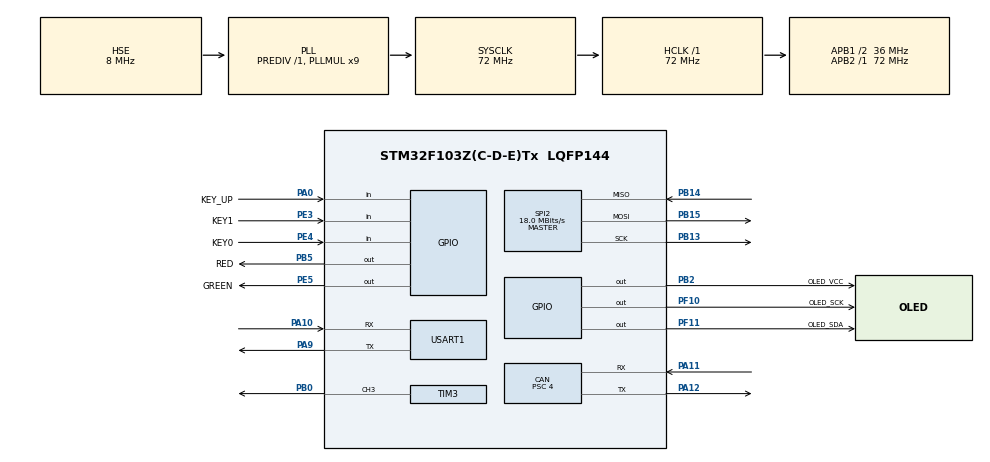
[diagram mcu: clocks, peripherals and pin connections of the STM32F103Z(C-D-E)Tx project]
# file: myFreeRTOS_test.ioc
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CAN.BS1=CAN_BS1_9TQ
CAN.BS2=CAN_BS2_8TQ
CAN.CalculateBaudRate=500000
CAN.CalculateTimeBit=2000
CAN.CalculateTimeQuantum=111.11111111111111
CAN.Mode=CAN_MODE_LOOPBACK
CAN.Prescaler=4
Dma.Request0=USART1_RX
Dma.Request1=TIM3_CH3
Dma.TIM3_CH3.1.Direction=DMA_MEMORY_TO_PERIPH
Dma.TIM3_CH3.1.Instance=DMA1_Channel2
Dma.TIM3_CH3.1.MemDataAlignment=DMA_MDATAALIGN_HALFWORD
Dma.TIM3_CH3.1.MemInc=DMA_MINC_ENABLE
Dma.TIM3_CH3.1.Mode=DMA_NORMAL
Dma.TIM3_CH3.1.PeriphDataAlignment=DMA_PDATAALIGN_HALFWORD
Dma.TIM3_CH3.1.PeriphInc=DMA_PINC_DISABLE
Dma.TIM3_CH3.1.Priority=DMA_PRIORITY_HIGH
Dma.USART1_RX.0.Direction=DMA_PERIPH_TO_MEMORY
Dma.USART1_RX.0.Instance=DMA1_Channel5
Dma.USART1_RX.0.MemDataAlignment=DMA_MDATAALIGN_BYTE
Dma.USART1_RX.0.MemInc=DMA_MINC_ENABLE
Dma.USART1_RX.0.Mode=DMA_CIRCULAR
Dma.USART1_RX.0.PeriphDataAlignment=DMA_PDATAALIGN_BYTE
Dma.USART1_RX.0.PeriphInc=DMA_PINC_DISABLE
Dma.USART1_RX.0.Priority=DMA_PRIORITY_LOW
FREERTOS.Mutexes01=I2CMutex,Dynamic,NULL;AttitudeMutex,Dynamic,NULL;SPIMutex,Dynamic,NULL;MetaDataMutex,Dynamic,NULL
FREERTOS.Queues01=KeyQueue,5,uint16_t,0,Dynamic,NULL,NULL;StorageCmdQueue,10,StorageCmd_t,0,Dynamic,NULL,NULL
FREERTOS.Tasks01=KeyScanTask,24,256,Key_Scan_Task,Default,NULL,Dynamic,NULL,NULL;UIManagerTask,16,512,UI_Manager_Task,Default,NULL,Dynamic,NULL,NULL;MPUReadTask,24,512,MPU_Read_Task,Default,NULL,Dynamic,NULL,NULL;HeartbeatTask,8,512,Hearbeat_Task,Default,NULL,Dynamic,NULL,NULL;StorageTask,24,512,Storage_Task,Default,NULL,Dynamic,NULL,NULL;LedTask,24,256,Led_Task,Default,NULL,Dynamic,NULL,NULL;WatchdogTask,8,256,Watchdog_Task,Default,NULL,Dynamic,NULL,NULL;InitTask,40,768,Init_Task,Default,NULL,Dynamic,NULL,NULL
FREERTOS.configCHECK_FOR_STACK_OVERFLOW=2
FREERTOS.configTOTAL_HEAP_SIZE=28672
IWDG.Prescaler=IWDG_PRESCALER_64
IWDG.Reload=1874
Mcu.Family=STM32F1
Mcu.Name=STM32F103Z(C-D-E)Tx
Mcu.Package=LQFP144
NVIC.DMA1_Channel2_IRQn=true\:5\:0\:false\:false\:true\:true\:false\:true\:true
NVIC.DMA1_Channel5_IRQn=true\:5\:0\:false\:false\:true\:true\:false\:true\:true
NVIC.PriorityGroup=NVIC_PRIORITYGROUP_4
NVIC.TIM8_UP_IRQn=true\:15\:0\:false\:false\:true\:false\:false\:true\:true
NVIC.TimeBase=TIM8_UP_IRQn
NVIC.TimeBaseIP=TIM8
NVIC.USART1_IRQn=true\:5\:0\:false\:false\:true\:true\:true\:true\:true
NVIC.USB_LP_CAN1_RX0_IRQn=true\:5\:0\:false\:false\:true\:true\:true\:true\:true
OSC_IN.Mode=HSE-External-Oscillator
OSC_IN.Signal=RCC_OSC_IN
OSC_OUT.Mode=HSE-External-Oscillator
OSC_OUT.Signal=RCC_OSC_OUT
PA0-WKUP.GPIO_Label=KEY_UP
PA0-WKUP.GPIO_PuPd=GPIO_PULLDOWN
PA0-WKUP.Signal=GPIO_Input
PA10.Mode=Asynchronous
PA10.Signal=USART1_RX
PA11.Mode=CAN_Activate
PA11.Signal=CAN_RX
PA12.Mode=CAN_Activate
PA12.Signal=CAN_TX
PA13.Mode=Serial_Wire
PA13.Signal=SYS_JTMS-SWDIO
PA14.Mode=Serial_Wire
PA14.Signal=SYS_JTCK-SWCLK
PA9.Mode=Asynchronous
PA9.Signal=USART1_TX
PB0.GPIO_Speed=GPIO_SPEED_FREQ_HIGH
PB0.Signal=S_TIM3_CH3
PB13.Mode=Full_Duplex_Master
PB13.Signal=SPI2_SCK
PB14.Mode=Full_Duplex_Master
PB14.Signal=SPI2_MISO
PB15.Mode=Full_Duplex_Master
PB15.Signal=SPI2_MOSI
PB2.GPIO_Label=OLED_VCC
PB2.GPIO_ModeDefaultOutputPP=GPIO_MODE_OUTPUT_PP
PB2.GPIO_Speed=GPIO_SPEED_FREQ_LOW
PB2.PinState=GPIO_PIN_SET
PB2.Signal=GPIO_Output
PB5.GPIO_Label=RED
PB5.GPIO_PuPd=GPIO_NOPULL
PB5.GPIO_Speed=GPIO_SPEED_FREQ_LOW
PB5.PinState=GPIO_PIN_SET
PB5.Signal=GPIO_Output
PE3.GPIO_Label=KEY1
PE3.GPIO_PuPd=GPIO_PULLUP
PE3.Signal=GPIO_Input
PE4.GPIO_Label=KEY0
PE4.GPIO_PuPd=GPIO_PULLUP
PE4.Signal=GPIO_Input
PE5.GPIO_Label=GREEN
PE5.PinState=GPIO_PIN_SET
PE5.Signal=GPIO_Output
PF10.GPIO_Label=OLED_SCK
PF10.GPIO_PuPd=GPIO_PULLUP
PF10.GPIO_Speed=GPIO_SPEED_FREQ_HIGH
PF10.Signal=GPIO_Output
PF11.GPIO_Label=OLED_SDA
PF11.GPIO_PuPd=GPIO_PULLUP
PF11.GPIO_Speed=GPIO_SPEED_FREQ_HIGH
PF11.Signal=GPIO_Output
ProjectManager.HeapSize=0x200
ProjectManager.StackSize=0x400
ProjectManager.TargetToolchain=CMake
RCC.AHBFreq_Value=72000000
RCC.APB1CLKDivider=RCC_HCLK_DIV2
RCC.APB1Freq_Value=36000000
RCC.APB1TimFreq_Value=72000000
RCC.APB2Freq_Value=72000000
RCC.APB2TimFreq_Value=72000000
RCC.HCLKFreq_Value=72000000
RCC.PLLMUL=RCC_PLL_MUL9
RCC.PLLSourceVirtual=RCC_PLLSOURCE_HSE
RCC.SYSCLKFreq_VALUE=72000000
RCC.SYSCLKSource=RCC_SYSCLKSOURCE_PLLCLK
RCC.USBFreq_Value=72000000
SH.S_TIM3_CH3.0=TIM3_CH3,PWM Generation3 CH3
SPI2.BaudRatePrescaler=SPI_BAUDRATEPRESCALER_2
SPI2.CLKPhase=SPI_PHASE_2EDGE
SPI2.CLKPolarity=SPI_POLARITY_HIGH
SPI2.CalculateBaudRate=18.0 MBits/s
SPI2.Direction=SPI_DIRECTION_2LINES
SPI2.Mode=SPI_MODE_MASTER
SPI2.VirtualType=VM_MASTER
TIM3.Channel-PWM\ Generation3\ CH3=TIM_CHANNEL_3
TIM3.Period=89
USART1.VirtualMode=VM_ASYNC
VP_FREERTOS_VS_CMSIS_V2.Mode=CMSIS_V2
VP_IWDG_VS_IWDG.Mode=IWDG_Activate
VP_SYS_VS_tim8.Mode=TIM8
VP_TIM3_VS_ClockSourceINT.Mode=Internal
board=custom

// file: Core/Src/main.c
/* USER CODE BEGIN Header */
/**
  ******************************************************************************
  * @file           : main.c
  * @brief          : Main program body
  ******************************************************************************
  * @attention
  *
  * Copyright (c) 2026 STMicroelectronics.
  * All rights reserved.
  *
  * This software is licensed under terms that can be found in the LICENSE file
  * in the root directory of this software component.
  * If no LICENSE file comes with this software, it is provided AS-IS.
  *
  ******************************************************************************
  */
/* USER CODE END Header */
#include "main.h"
#include "cmsis_os.h"
#include "can.h"
#include "dma.h"
#include "iwdg.h"
#include "spi.h"
#include "tim.h"
#include "usart.h"
#include "gpio.h"

/* USER CODE BEGIN Includes */
#include "myiic.h"
#include "oled.h"
#include "mpu6050.h"
#include "inv_mpu.h"
#include "inv_mpu_dmp_motion_driver.h"
#include <stdio.h>
#include "norflash.h"
#include <string.h>
#include "storage_task.h"
/* USER CODE END Includes */

/* USER CODE BEGIN PV */
//   float g_pitch = 0.0f;
// float g_roll  = 0.0f;
// float g_yaw   = 0.0f;
/* USER CODE END PV */

void SystemClock_Config(void);
void MX_FREERTOS_Init(void);

int main(void)
{

  /* MCU Configuration--------------------------------------------------------*/

  /* Reset of all peripherals, Initializes the Flash interface and the Systick. */
  HAL_Init();

  /* Configure the system clock */
  SystemClock_Config();

  /* Initialize all configured peripherals */
  MX_GPIO_Init();
  MX_DMA_Init();
  MX_USART1_UART_Init();
  MX_SPI2_Init();
  MX_TIM3_Init();
  MX_CAN_Init();
  /* USER CODE BEGIN 2 */

#if 0 /* Startup work moved to InitTask. */

  if (__HAL_RCC_GET_FLAG(RCC_FLAG_IWDGRST))
  {
      printf("[Watchdog] last reset was caused by IWDG (task hang recovered)\r\n");
  }
  __HAL_RCC_CLEAR_RESET_FLAGS();

  UART_Rx_Start();

  iic_init();     /* 初始化IIC总线 */
  OLED_Init();   /* 初始化OLED */
  OLED_ShowString(0, 0,(uint8_t *)"OLED Init finished", 16, 1);
  OLED_Refresh();
  printf("usart initialized\r\n");

  //flash测试
  norflash_init();

  uint16_t id = norflash_read_id();
  printf("NORFLASH ID: 0x%04X\r\n", id);

  if (id == 0 || id == 0xFFFF) {
    printf("FLASH Check Failed! Please check wiring.\r\n");
  } else if (id == NM25Q128) {
    printf("FLASH Check OK, chip is NM25Q128.\r\n");
  } else {
    printf("FLASH detected, but ID does not match NM25Q128 (got 0x%04X)\r\n",
           id);
  }

  // const uint8_t test_text[] = "STM32 SPI TEST";
  // uint8_t write_buf[32];
  // uint8_t read_buf[32] = {0};
  // uint32_t flash_size = 16 * 1024 * 1024; // W25Q128 = 16MB
  // uint32_t test_addr = flash_size - 100;

  // sprintf((char *)write_buf, "%s", test_text);
  // norflash_write(write_buf, test_addr, sizeof(test_text));

  // norflash_read(read_buf, test_addr, sizeof(test_text));

  // printf("Write: %s\r\n", write_buf);
  // printf("Read : %s\r\n", read_buf);

  // if (memcmp(write_buf, read_buf, sizeof(test_text)) == 0) {
  //   printf("Flash R/W test: PASS\r\n");
  // } else {
  //   printf("Flash R/W test: FAIL\r\n");
  // }

  // 初始化MPU6050
  if (MPU_Init() != 0) {
    printf("mpu_init err");
    OLED_ShowString(0, 16,(uint8_t *)"MPU6050 Init failed", 16, 1);
    OLED_Refresh();
    while (1)
      ;
  }

  // 初始化DMP
  while (mpu_dmp_init()) {
    HAL_Delay(200);
    printf("dmp_init err");
    OLED_ShowString(0, 32,(uint8_t *)"dmp_init failed", 16, 1);
    OLED_Refresh();
    // 重试
  }

  OLED_Clear();
  OLED_Refresh();

  Meta_Load();

  MX_IWDG_Init();

#endif

  uint16_t i = 0;
  /* USER CODE END 2 */

  /* Init scheduler */
  osKernelInitialize();

  /* Call init function for freertos objects (in cmsis_os2.c) */
  MX_FREERTOS_Init();

  /* Start scheduler */
  osKernelStart();

  /* We should never get here as control is now taken by the scheduler */

  /* Infinite loop */
  while (1)
  {

    /* USER CODE BEGIN 3 */
    // if (mpu_dmp_get_data(&g_pitch, &g_roll, &g_yaw) == 0) {
    //   // 成功读取数据
    //   printf("Pitch:%.2f Roll:%.2f Yaw:%.2f\r\n", g_pitch, g_roll, g_yaw);
    //   OLED_ShowFloatNum(0, 0, g_pitch, 2, 2, 16,1);
    //   OLED_ShowFloatNum(0, 16, g_roll , 2, 2, 16,1);
    //   OLED_ShowFloatNum(0, 32, g_yaw , 2, 2, 16,1);
    //   OLED_Refresh();
    // }
    HAL_Delay(10); // 10Hz读取频率
    i++;

    if (i == 20) {
      HAL_GPIO_TogglePin(RED_GPIO_Port, RED_Pin);
      i = 0;
    }
  }
  /* USER CODE END 3 */
}

void SystemClock_Config(void)
{
  RCC_OscInitTypeDef RCC_OscInitStruct = {0};
  RCC_ClkInitTypeDef RCC_ClkInitStruct = {0};

  /** Initializes the RCC Oscillators according to the specified parameters
  * in the RCC_OscInitTypeDef structure.
  */
  RCC_OscInitStruct.OscillatorType = RCC_OSCILLATORTYPE_LSI|RCC_OSCILLATORTYPE_HSE;
  RCC_OscInitStruct.HSEState = RCC_HSE_ON;
  RCC_OscInitStruct.HSEPredivValue = RCC_HSE_PREDIV_DIV1;
  RCC_OscInitStruct.HSIState = RCC_HSI_ON;
  RCC_OscInitStruct.LSIState = RCC_LSI_ON;
  RCC_OscInitStruct.PLL.PLLState = RCC_PLL_ON;
  RCC_OscInitStruct.PLL.PLLSource = RCC_PLLSOURCE_HSE;
  RCC_OscInitStruct.PLL.PLLMUL = RCC_PLL_MUL9;
  if (HAL_RCC_OscConfig(&RCC_OscInitStruct) != HAL_OK)
  {
    Error_Handler();
  }

  /** Initializes the CPU, AHB and APB buses clocks
  */
  RCC_ClkInitStruct.ClockType = RCC_CLOCKTYPE_HCLK|RCC_CLOCKTYPE_SYSCLK
                              |RCC_CLOCKTYPE_PCLK1|RCC_CLOCKTYPE_PCLK2;
  RCC_ClkInitStruct.SYSCLKSource = RCC_SYSCLKSOURCE_PLLCLK;
  RCC_ClkInitStruct.AHBCLKDivider = RCC_SYSCLK_DIV1;
  RCC_ClkInitStruct.APB1CLKDivider = RCC_HCLK_DIV2;
  RCC_ClkInitStruct.APB2CLKDivider = RCC_HCLK_DIV1;

  if (HAL_RCC_ClockConfig(&RCC_ClkInitStruct, FLASH_LATENCY_2) != HAL_OK)
  {
    Error_Handler();
  }
}

void HAL_TIM_PeriodElapsedCallback(TIM_HandleTypeDef *htim)
{
  if (htim->Instance == TIM8) {
    HAL_IncTick();
  }
}

void Error_Handler(void)
{
  __disable_irq();
  while (1)
  {
  }
}

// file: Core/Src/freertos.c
/* USER CODE BEGIN Header */
/**
  ******************************************************************************
  * File Name          : freertos.c
  * Description        : Code for freertos applications
  ******************************************************************************
  * @attention
  *
  * Copyright (c) 2026 STMicroelectronics.
  * All rights reserved.
  *
  * This software is licensed under terms that can be found in the LICENSE file
  * in the root directory of this software component.
  * If no LICENSE file comes with this software, it is provided AS-IS.
  *
  ******************************************************************************
  */
/* USER CODE END Header */

#include "FreeRTOS.h"
#include "task.h"
#include "main.h"
#include "cmsis_os.h"

/* USER CODE BEGIN Includes */
#include "key_task.h"
#include "oled.h"
#include "ui_task.h"
#include "mpu_task.h"
#include "usart.h"
#include "stdio.h"
#include "led_task.h"
#include "storage_task.h"
#include "watchdog_task.h"
#include "system_init.h"
#include "can_task.h"
/* USER CODE END Includes */

/* USER CODE BEGIN Variables */
osEventFlagsId_t SystemReadyFlagsHandle;
osMessageQueueId_t CanRxQueueHandle;
static const osThreadAttr_t CanTask_attributes = {
  .name = "CanTask",
  .stack_size = 512 * 4,
  .priority = (osPriority_t) osPriorityNormal,
};
/* Definitions for KeyScanTask */
osThreadId_t KeyScanTaskHandle;
const osThreadAttr_t KeyScanTask_attributes = {
  .name = "KeyScanTask",
  .stack_size = 256 * 4,
  .priority = (osPriority_t) osPriorityNormal,
};
/* Definitions for UIManagerTask */
osThreadId_t UIManagerTaskHandle;
const osThreadAttr_t UIManagerTask_attributes = {
  .name = "UIManagerTask",
  .stack_size = 512 * 4,
  .priority = (osPriority_t) osPriorityBelowNormal,
};
/* Definitions for MPUReadTask */
osThreadId_t MPUReadTaskHandle;
const osThreadAttr_t MPUReadTask_attributes = {
  .name = "MPUReadTask",
  .stack_size = 512 * 4,
  .priority = (osPriority_t) osPriorityNormal,
};
/* Definitions for HeartbeatTask */
osThreadId_t HeartbeatTaskHandle;
const osThreadAttr_t HeartbeatTask_attributes = {
  .name = "HeartbeatTask",
  .stack_size = 512 * 4,
  .priority = (osPriority_t) osPriorityLow,
};
/* Definitions for StorageTask */
osThreadId_t StorageTaskHandle;
const osThreadAttr_t StorageTask_attributes = {
  .name = "StorageTask",
  .stack_size = 512 * 4,
  .priority = (osPriority_t) osPriorityNormal,
};
/* Definitions for LedTask */
osThreadId_t LedTaskHandle;
const osThreadAttr_t LedTask_attributes = {
  .name = "LedTask",
  .stack_size = 256 * 4,
  .priority = (osPriority_t) osPriorityNormal,
};
/* Definitions for WatchdogTask */
osThreadId_t WatchdogTaskHandle;
const osThreadAttr_t WatchdogTask_attributes = {
  .name = "WatchdogTask",
  .stack_size = 256 * 4,
  .priority = (osPriority_t) osPriorityLow,
};
/* Definitions for InitTask */
osThreadId_t InitTaskHandle;
const osThreadAttr_t InitTask_attributes = {
  .name = "InitTask",
  .stack_size = 768 * 4,
  .priority = (osPriority_t) osPriorityHigh,
};
/* Definitions for KeyQueue */
osMessageQueueId_t KeyQueueHandle;
const osMessageQueueAttr_t KeyQueue_attributes = {
  .name = "KeyQueue"
};
/* Definitions for StorageCmdQueue */
osMessageQueueId_t StorageCmdQueueHandle;
const osMessageQueueAttr_t StorageCmdQueue_attributes = {
  .name = "StorageCmdQueue"
};
/* Definitions for I2CMutex */
osMutexId_t I2CMutexHandle;
const osMutexAttr_t I2CMutex_attributes = {
  .name = "I2CMutex"
};
/* Definitions for AttitudeMutex */
osMutexId_t AttitudeMutexHandle;
const osMutexAttr_t AttitudeMutex_attributes = {
  .name = "AttitudeMutex"
};
/* Definitions for SPIMutex */
osMutexId_t SPIMutexHandle;
const osMutexAttr_t SPIMutex_attributes = {
  .name = "SPIMutex"
};
/* Definitions for MetaDataMutex */
osMutexId_t MetaDataMutexHandle;
const osMutexAttr_t MetaDataMutex_attributes = {
  .name = "MetaDataMutex"
};

void Key_Scan_Task(void *argument);
void UI_Manager_Task(void *argument);
void MPU_Read_Task(void *argument);
void Hearbeat_Task(void *argument);
void Storage_Task(void *argument);
void Led_Task(void *argument);
void Watchdog_Task(void *argument);
void Init_Task(void *argument);

void MX_FREERTOS_Init(void); /* (MISRA C 2004 rule 8.1) */

/* Hook prototypes */
void vApplicationStackOverflowHook(xTaskHandle xTask, signed char *pcTaskName);

/* USER CODE BEGIN 4 */
void vApplicationStackOverflowHook(xTaskHandle xTask, signed char *pcTaskName)
{
   /* Run time stack overflow checking is performed if
   configCHECK_FOR_STACK_OVERFLOW is defined to 1 or 2. This hook function is
   called if a stack overflow is detected. */
       printf("Stack Overflow: %s\r\n", pcTaskName);
    while(1);
}
/* USER CODE END 4 */

void MX_FREERTOS_Init(void) {
  /* Create the mutex(es) */
  /* creation of I2CMutex */
  I2CMutexHandle = osMutexNew(&I2CMutex_attributes);

  /* creation of AttitudeMutex */
  AttitudeMutexHandle = osMutexNew(&AttitudeMutex_attributes);

  /* creation of SPIMutex */
  SPIMutexHandle = osMutexNew(&SPIMutex_attributes);

  /* creation of MetaDataMutex */
  MetaDataMutexHandle = osMutexNew(&MetaDataMutex_attributes);

  /* Create the queue(s) */
  /* creation of KeyQueue */
  KeyQueueHandle = osMessageQueueNew (5, sizeof(uint16_t), &KeyQueue_attributes);

  /* creation of StorageCmdQueue */
  StorageCmdQueueHandle = osMessageQueueNew (10, sizeof(StorageCmd_t), &StorageCmdQueue_attributes);

  /* USER CODE BEGIN RTOS_QUEUES */
  UartLineQueueHandle = osMessageQueueNew(16, sizeof(UartLine_t), NULL);
  CanRxQueueHandle = osMessageQueueNew(16, sizeof(CanFrame_t), NULL);
  /* USER CODE END RTOS_QUEUES */

  /* Create the thread(s) */
  /* creation of KeyScanTask */
  KeyScanTaskHandle = osThreadNew(Key_Scan_Task, NULL, &KeyScanTask_attributes);

  /* creation of UIManagerTask */
  UIManagerTaskHandle = osThreadNew(UI_Manager_Task, NULL, &UIManagerTask_attributes);

  /* creation of MPUReadTask */
  MPUReadTaskHandle = osThreadNew(MPU_Read_Task, NULL, &MPUReadTask_attributes);

  /* creation of HeartbeatTask */
  HeartbeatTaskHandle = osThreadNew(Hearbeat_Task, NULL, &HeartbeatTask_attributes);

  /* creation of StorageTask */
  StorageTaskHandle = osThreadNew(Storage_Task, NULL, &StorageTask_attributes);

  /* creation of LedTask */
  LedTaskHandle = osThreadNew(Led_Task, NULL, &LedTask_attributes);

  /* creation of WatchdogTask */
  WatchdogTaskHandle = osThreadNew(Watchdog_Task, NULL, &WatchdogTask_attributes);

  /* creation of InitTask */
  InitTaskHandle = osThreadNew(Init_Task, NULL, &InitTask_attributes);

  /* USER CODE BEGIN RTOS_THREADS */
  (void)osThreadNew(Can_Task_Entry, NULL, &CanTask_attributes);
  printf("[RTOS] free heap after all creation = %u bytes\r\n", (unsigned)xPortGetFreeHeapSize());
  printf("[RTOS] handles: Key=%p UI=%p MPU=%p Heartbeat=%p Storage=%p Led=%p\r\n",
         (void*)KeyScanTaskHandle, (void*)UIManagerTaskHandle, (void*)MPUReadTaskHandle,
         (void*)HeartbeatTaskHandle, (void*)StorageTaskHandle, (void*)LedTaskHandle);
  /* USER CODE END RTOS_THREADS */

  /* USER CODE BEGIN RTOS_EVENTS */
  SystemReadyFlagsHandle = osEventFlagsNew(NULL);
  /* USER CODE END RTOS_EVENTS */

}

void Key_Scan_Task(void *argument)
{
  /* USER CODE BEGIN Key_Scan_Task */
  Key_Scan_Task_Entry(argument);
  /* Infinite loop */
  // for(;;)
  // {
  //   osDelay(1);
  // }
  /* USER CODE END Key_Scan_Task */
}

void UI_Manager_Task(void *argument)
{
  /* USER CODE BEGIN UI_Manager_Task */
  uint16_t evt;
  /* Infinite loop */
  UI_Manager_Task_Entry(argument);
  // for(;;)
  // {
  //   osDelay(10);
  // }
  /* USER CODE END UI_Manager_Task */
}

void MPU_Read_Task(void *argument)
{
  /* USER CODE BEGIN MPU_Read_Task */
MPU_Read_Task_Entry(argument);
  /* Infinite loop */
//   for(;;)
//   {
// osDelay(10);

//   }
  /* USER CODE END MPU_Read_Task */
}

void Hearbeat_Task(void *argument)
{
  /* USER CODE BEGIN Hearbeat_Task */
  System_Init_WaitReady();
  /* Infinite loop */
  uint8_t i = 0;
  uint8_t hwm_counter = 0;
  for(;;)
  {
    Watchdog_Checkin(WDG_TASK_HEARTBEAT);
    // oled_Refresh();
    // osDelay(100);
    // i++;
    // if(i >= 20)   // 20ms*20=400ms闪烁
    // {
    //   HAL_GPIO_TogglePin(RED_GPIO_Port, RED_Pin);
    //   i = 0;
    // }
    HAL_GPIO_TogglePin(GREEN_GPIO_Port, GREEN_Pin);
    osDelay(500);
    HAL_GPIO_TogglePin(GREEN_GPIO_Port, GREEN_Pin);
    osDelay(500);

    // 诊断：每10秒打印各任务栈的历史�?小剩余量(高水位线)，单位字�?
    // 数�?�会随着各任务跑到过的最坏情�?(OLED刷新/DMP解算/UART突发�?)逐渐变小并趋于稳�?
    hwm_counter++;
    if(hwm_counter >= 10)
    {
        hwm_counter = 0;
        printf("[StackHWM] Key=%lu UI=%lu MPU=%lu Heartbeat=%lu Storage=%lu Led=%lu (bytes free, min ever)\r\n",
               (unsigned long)(uxTaskGetStackHighWaterMark(KeyScanTaskHandle) * 4),
               (unsigned long)(uxTaskGetStackHighWaterMark(UIManagerTaskHandle) * 4),
               (unsigned long)(uxTaskGetStackHighWaterMark(MPUReadTaskHandle) * 4),
               (unsigned long)(uxTaskGetStackHighWaterMark(HeartbeatTaskHandle) * 4),
               (unsigned long)(uxTaskGetStackHighWaterMark(StorageTaskHandle) * 4),
               (unsigned long)(uxTaskGetStackHighWaterMark(LedTaskHandle) * 4));
    }
  }
  /* USER CODE END Hearbeat_Task */
}

void Storage_Task(void *argument)
{
  /* USER CODE BEGIN Storage_Task */
  /* Infinite loop */

  Storage_Task_Entry(argument);
  // for(;;)
  // {
  //   osDelay(1);
  // }
  /* USER CODE END Storage_Task */
}

void Led_Task(void *argument)
{
  /* USER CODE BEGIN Led_Task */
  LED_Task_Entry(argument);
  /* Infinite loop */
  // for(;;)
  // {
  //   osDelay(1);
  // }
  /* USER CODE END Led_Task */
}

void Watchdog_Task(void *argument)
{
  /* USER CODE BEGIN Watchdog_Task */
  Watchdog_Task_Entry(argument);
  /* USER CODE END Watchdog_Task */
}

void Init_Task(void *argument)
{
  /* USER CODE BEGIN Init_Task */
  Init_Task_Entry(argument);
  /* USER CODE END Init_Task */
}
